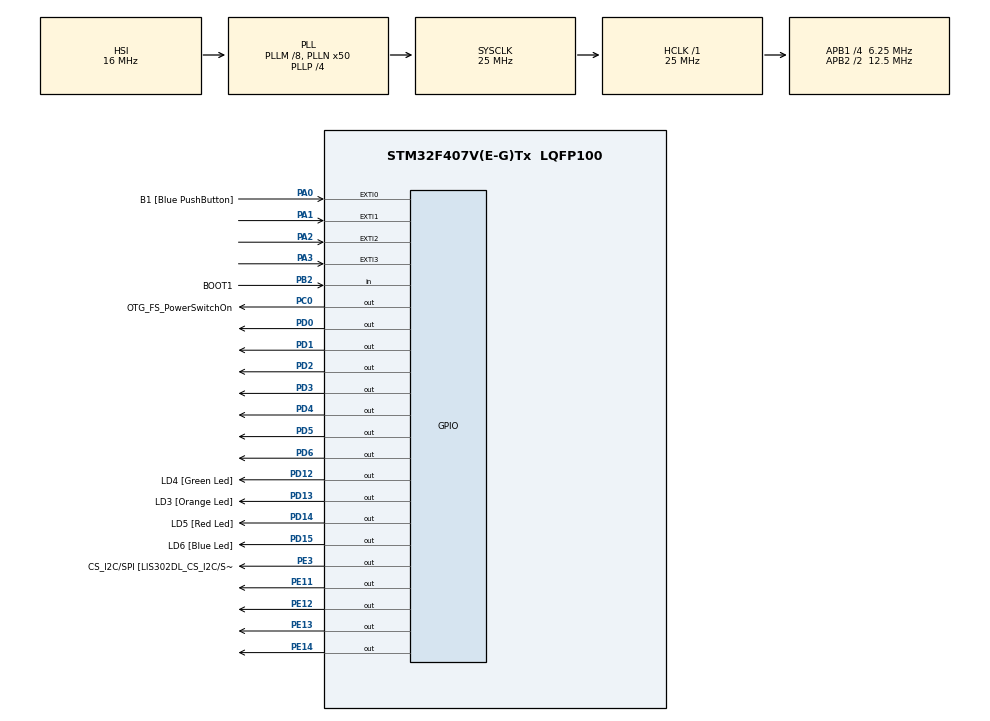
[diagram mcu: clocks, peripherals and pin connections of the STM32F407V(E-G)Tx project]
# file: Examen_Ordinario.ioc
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Mcu.Family=STM32F4
PA11.GPIO_Speed=GPIO_SPEED_FREQ_LOW
PC3.GPIO_Mode=GPIO_MODE_AF_PP
PA2.GPIO_PuPd=GPIO_PULLDOWN
PD12.GPIO_Label=LD4 [Green Led]
PH0-OSC_IN.Signal=RCC_OSC_IN
RCC.CortexFreq_Value=25000000
PC10.GPIO_PuPd=GPIO_NOPULL
PB10.GPIO_Speed=GPIO_SPEED_FREQ_LOW
PB6.GPIO_Mode=GPIO_MODE_AF_OD
PB10.GPIO_PuPd=GPIO_NOPULL
PA10.GPIO_PuPd=GPIO_NOPULL
PD15.GPIO_Speed=GPIO_SPEED_FREQ_LOW
PC10.Signal=I2S3_CK
PC12.Signal=I2S3_SD
PA14.GPIO_Label=SWCLK
PA3.GPIO_PuPd=GPIO_PULLDOWN
PA7.GPIO_Mode=GPIO_MODE_AF_PP
PE11.PinState=GPIO_PIN_SET
NVIC.EXTI3_IRQn=true\:1\:0\:true\:false\:true\:true\:true
PC0.GPIO_Label=OTG_FS_PowerSwitchOn
PA6.GPIO_Label=SPI1_MISO [LIS302DL_SDO]
PB6.GPIO_Label=Audio_SCL [CS43L22_SCL]
PC10.GPIO_Speed=GPIO_SPEED_FREQ_LOW
PA11.GPIO_PuPd=GPIO_NOPULL
PC15-OSC32_OUT.GPIO_Label=PC15-OSC32_OUT
PC3.GPIO_Speed=GPIO_SPEED_FREQ_LOW
RCC.SYSCLKSource=RCC_SYSCLKSOURCE_PLLCLK
ProjectManager.StackSize=0x400
PA6.GPIO_Mode=GPIO_MODE_AF_PP
PD13.Signal=GPIO_Output
PD14.GPIO_Speed=GPIO_SPEED_FREQ_LOW
NVIC.EXTI1_IRQn=true\:1\:0\:true\:false\:true\:true\:true
PA12.Signal=USB_OTG_FS_DP
RCC.HCLKFreq_Value=25000000
PD4.Signal=GPIO_Output
RCC.APB2TimFreq_Value=25000000
PB6.Signal=I2C1_SCL
PC7.Signal=I2S3_MCK
PC3.Signal=I2S2_SD
PD0.Signal=GPIO_Output
PE14.PinState=GPIO_PIN_SET
PA1.GPIO_PuPd=GPIO_PULLDOWN
RCC.AHBFreq_Value=25000000
PH0-OSC_IN.GPIO_Label=PH0-OSC_IN
PA9.GPIO_Mode=GPIO_MODE_INPUT
RCC.HSE_VALUE=8000000
PA4.GPIO_PuPd=GPIO_NOPULL
PB2.Signal=GPIO_Input
PE13.PinState=GPIO_PIN_SET
PA4.GPIO_Speed=GPIO_SPEED_FREQ_LOW
PA6.GPIO_PuPd=GPIO_NOPULL
PE13.Signal=GPIO_Output
PA5.GPIO_PuPd=GPIO_NOPULL
PA10.GPIO_Label=OTG_FS_ID
PC7.GPIO_Mode=GPIO_MODE_AF_PP
PD14.GPIO_PuPd=GPIO_NOPULL
PB2.GPIO_PuPd=GPIO_NOPULL
PD13.GPIO_Label=LD3 [Orange Led]
Mcu.Package=LQFP100
PB9.Signal=I2C1_SDA
PA6.Signal=SPI1_MISO
PD12.Signal=GPIO_Output
PD15.GPIO_PuPd=GPIO_NOPULL
PA10.Signal=USB_OTG_FS_ID
PB9.GPIO_PuPd=GPIO_NOPULL
PA10.GPIO_Speed=GPIO_SPEED_FREQ_LOW
RCC.APB2CLKDivider=RCC_HCLK_DIV2
PB9.GPIO_Speed=GPIO_SPEED_FREQ_LOW
NVIC.EXTI2_IRQn=true\:1\:0\:true\:false\:true\:true\:true
RCC.APB1TimFreq_Value=12500000
PC14-OSC32_IN.GPIO_Label=PC14-OSC32_IN
PC12.GPIO_PuPd=GPIO_NOPULL
PA6.GPIO_Speed=GPIO_SPEED_FREQ_LOW
PC0.GPIO_PuPd=GPIO_NOPULL
PA12.GPIO_PuPd=GPIO_NOPULL
PD6.Signal=GPIO_Output
PA4.GPIO_Label=I2S3_WS [CS43L22_LRCK]
PD15.Signal=GPIO_Output
PC0.PinState=GPIO_PIN_SET
PA12.GPIO_Speed=GPIO_SPEED_FREQ_LOW
PA3.Signal=GPXTI3
PB3.GPIO_Label=SWO
PD12.GPIO_Speed=GPIO_SPEED_FREQ_LOW
PD15.GPIO_Label=LD6 [Blue Led]
PB9.GPIO_Label=Audio_SDA [CS43L22_SDA]
PC10.GPIO_Label=I2S3_SCK [CS43L22_SCLK]
PA9.GPIO_Label=VBUS_FS
PB6.GPIO_PuPd=GPIO_NOPULL
PD3.Signal=GPIO_Output
PD1.Signal=GPIO_Output
PA11.GPIO_Label=OTG_FS_DM
PD5.Signal=GPIO_Output
PC0.Signal=GPIO_Output
RCC.APB1CLKDivider=RCC_HCLK_DIV4
PC14-OSC32_IN.Signal=RCC_OSC32_IN
PA9.GPIO_PuPd=GPIO_NOPULL
PA12.GPIO_Label=OTG_FS_DP
PA0-WKUP.GPIO_Label=B1 [Blue PushButton]
PA0-WKUP.Signal=GPXTI0
PA10.GPIO_Mode=GPIO_MODE_AF_PP
PA13.Signal=SYS_JTMS-SWDIO
PC10.GPIO_Mode=GPIO_MODE_AF_PP
PC0.GPIO_Speed=GPIO_SPEED_FREQ_LOW
PB10.GPIO_Mode=GPIO_MODE_AF_PP
ProjectManager.TargetToolchain=STM32CubeIDE
PB10.GPIO_Label=CLK_IN [MP45DT02_CLK]
PA9.Signal=USB_OTG_FS_VBUS
PC7.GPIO_PuPd=GPIO_NOPULL
PE11.Signal=GPIO_Output
RCC.LSE_VALUE=32768
PC15-OSC32_OUT.Signal=RCC_OSC32_OUT
PA1.Signal=GPXTI1
PA7.GPIO_PuPd=GPIO_NOPULL
PB10.Signal=I2S2_CK
PA5.Signal=SPI1_SCK
board=STM32F407G-DISC1
PD13.GPIO_Speed=GPIO_SPEED_FREQ_LOW
PC7.GPIO_Speed=GPIO_SPEED_FREQ_LOW
RCC.VCOOutputFreq_Value=100000000
PA7.GPIO_Speed=GPIO_SPEED_FREQ_LOW
PB9.GPIO_Mode=GPIO_MODE_AF_OD
PA12.GPIO_Mode=GPIO_MODE_AF_PP
PA4.GPIO_Mode=GPIO_MODE_AF_PP
RCC.APB2Freq_Value=12500000
PB2.GPIO_Mode=GPIO_MODE_INPUT
PE14.Signal=GPIO_Output
PE3.GPIO_PuPd=GPIO_NOPULL
PH1-OSC_OUT.Signal=RCC_OSC_OUT
PD13.GPIO_PuPd=GPIO_NOPULL
PD14.GPIO_Label=LD5 [Red Led]
PH1-OSC_OUT.GPIO_Label=PH1-OSC_OUT
Mcu.Name=STM32F407V(E-G)Tx
PE12.Signal=GPIO_Output
PA2.Signal=GPXTI2
PA13.GPIO_Label=SWDIO
PE12.PinState=GPIO_PIN_SET
PD14.Signal=GPIO_Output
PC7.GPIO_Label=I2S3_MCK [CS43L22_MCLK]
RCC.48MHZClocksFreq_Value=14285714.285714285
PB3.Signal=SYS_JTDO-SWO
NVIC.EXTI0_IRQn=true\:1\:0\:true\:false\:true\:true\:true
PA4.Signal=I2S3_WS
RCC.SYSCLKFreq_VALUE=25000000
PC12.GPIO_Mode=GPIO_MODE_AF_PP
PA7.GPIO_Label=SPI1_MOSI [LIS302DL_SDA/SDI/SDO]
PA5.GPIO_Label=SPI1_SCK [LIS302DL_SCL/SPC]
PE3.GPIO_Speed=GPIO_SPEED_FREQ_LOW
PC12.GPIO_Label=I2S3_SD [CS43L22_SDIN]
PA11.Signal=USB_OTG_FS_DM
PA14.Signal=SYS_JTCK-SWCLK
PB2.GPIO_Label=BOOT1
ProjectManager.HeapSize=0x200
RCC.HSI_VALUE=16000000
RCC.PLLP=RCC_PLLP_DIV4
PA5.GPIO_Speed=GPIO_SPEED_FREQ_LOW
RCC.PLLQ=7
NVIC.PriorityGroup=NVIC_PRIORITYGROUP_1
RCC.PLLM=8
RCC.PLLN=50
PE3.Signal=GPIO_Output
PE3.GPIO_Label=CS_I2C/SPI [LIS302DL_CS_I2C/SPI]
PC3.GPIO_Label=PDM_OUT [MP45DT02_DOUT]
PA0-WKUP.GPIO_PuPd=GPIO_PULLDOWN
PA11.GPIO_Mode=GPIO_MODE_AF_PP
PD2.Signal=GPIO_Output
PB6.GPIO_Speed=GPIO_SPEED_FREQ_LOW
RCC.APB1Freq_Value=6250000
PA5.GPIO_Mode=GPIO_MODE_AF_PP
PC12.GPIO_Speed=GPIO_SPEED_FREQ_LOW
PC3.GPIO_PuPd=GPIO_NOPULL
PD12.GPIO_PuPd=GPIO_NOPULL
PA7.Signal=SPI1_MOSI

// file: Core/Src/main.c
/* USER CODE BEGIN Header */
/**
  ******************************************************************************
  * @file           : main.c
  * @brief          : Main program body
  ******************************************************************************
  * @attention
  *
  * <h2><center>&copy; Copyright (c) 2021 STMicroelectronics.
  * All rights reserved.</center></h2>
  *
  * This software component is licensed by ST under BSD 3-Clause license,
  * the "License"; You may not use this file except in compliance with the
  * License. You may obtain a copy of the License at:
  *                        opensource.org/licenses/BSD-3-Clause
  *
  ******************************************************************************
  */
/* USER CODE END Header */
#include "main.h"

/* USER CODE BEGIN PV */

char lastk;
int nanterior;

int D1 = 0x70; //Y7
int D2 = 0x60;
int D3 = 0x50;
int D4 = 0x40;
int D5 = 0x30;
int D6 = 0x20;
int D7 = 0x10;
int D8 = 0x00;
int numeros[10] = { 0x0, 0x01, 0x2, 0x3, 0x4, 0x5, 0x6, 0x7, 0x8, 0x9 };
char key;
char keys[4][4] = {
		{ 1, 2, 3, 's' },
		{ 4, 5, 6, 'r' },
		{ 7, 8, 9, 'm' },
		{ 'a', 0, 'i', 'd' }
};
unsigned short column[4] = { GPIO_PIN_3, GPIO_PIN_2, GPIO_PIN_1, GPIO_PIN_0 };
unsigned short row[4] = { GPIO_PIN_14, GPIO_PIN_13, GPIO_PIN_12, GPIO_PIN_11 };
int KeyboardNumber;
unsigned short tiempoDebounce = 200;
unsigned int tickAnterior = 0;
/* USER CODE END PV */

void SystemClock_Config(void);
static void MX_GPIO_Init(void);
/* USER CODE BEGIN PFP */
void keyHandle(short);
void displayNumber(int numero);
void setDisplay(int dig1, int dig2, int dig3, int dig4, int dig5, int dig6, int dig7, int dig8);
/* USER CODE END PFP */

/* USER CODE BEGIN 0 */
/**
  * @brief Toma el valor de entrada
  * y los descompone en digitos individuales.
  * @param int
  * @retval None
  */
void displayNumber(int count) {
	int dig1, dig2, dig3, dig4, dig5, dig6, dig7, dig8;
	dig1 = count % 10; //almacenar el 1
	dig2 = (count % 100) / 10; //almacenar el 2
	dig3 = (count % 1000) / 100; //almacenar el 3
	dig4 = (count % 10000) / 1000; //almacenar el 4
	dig5 = (count % 100000) / 10000; //almacenar el 5
	dig6 = (count % 1000000) / 100000; //almacenar el 6
	dig7 = (count % 10000000) / 1000000; //almacenar el 7
	dig8 = (count % 100000000) / 10000000; //almacenar el 8
	setDisplay(dig1, dig2, dig3, dig4, dig5, dig6, dig7, dig8);
}

/**
  * @brief Toma los valores de entrada
  * y los imprime en los displays.
  * @param 8 numeros enteros entre 0 y 9 (6 en esta practica).
  * @see displayNumber()
  * @retval None
  */
void setDisplay(int dig1, int dig2, int dig3, int dig4, int dig5, int dig6, int dig7, int dig8) {
	GPIOD->ODR = numeros[dig1] + D1;
	HAL_Delay(1);
	GPIOD->ODR = numeros[dig2] + D2;
	HAL_Delay(1);
	GPIOD->ODR = numeros[dig3] + D3;
	HAL_Delay(1);
	GPIOD->ODR = numeros[dig4] + D4;
	HAL_Delay(1);
	GPIOD->ODR = numeros[dig5] + D5;
	HAL_Delay(1);
	GPIOD->ODR = numeros[dig6] + D6;
	HAL_Delay(1);
	GPIOD->ODR = numeros[dig7] + D7;
	HAL_Delay(1);
	GPIOD->ODR = numeros[dig8] + D8;
	HAL_Delay(1);
}
/**
  * @brief Decodifica un teclado matricial
  * @param short numero de el pin donde
  * se origino la interrupcion.
  * @retval None
  */
void keyHandle(short columna) {
	if ((HAL_GetTick() - tickAnterior) > tiempoDebounce) {
		HAL_Delay(5);
		GPIOE->ODR = 0x0;
		for (short i = 3; i >= 0; i--) {
			HAL_GPIO_WritePin(GPIOE, row[i], GPIO_PIN_SET);
			if (HAL_GPIO_ReadPin(GPIOA, column[columna])) {
				key = keys[i][columna];
			}
			HAL_GPIO_WritePin(GPIOE, row[i], GPIO_PIN_RESET);
		}
		if (key > 9) {
			if (key == 'i') {
				if (lastk == 's') {
					KeyboardNumber = nanterior + KeyboardNumber;
				}
				if (lastk == 'r') {
					KeyboardNumber = nanterior - KeyboardNumber;
				}
				if (lastk == 'm') {
					KeyboardNumber = nanterior * KeyboardNumber;
				}
				if (lastk == 'd') {
					KeyboardNumber = nanterior / KeyboardNumber;
				}
				lastk = 'i';
			} else {
				lastk = key;
				nanterior = KeyboardNumber;
				KeyboardNumber = 0;
			}
			if (key == 'a') {
				KeyboardNumber = 0;
				nanterior = 0;
				lastk = 0;
			}
		} else {
			KeyboardNumber = ((KeyboardNumber % 10000000) * 10 + key);

		}
		GPIOE->ODR = 0x7800;
		tickAnterior = HAL_GetTick();
	}
}
/* USER CODE END 0 */

int main(void)
{

  /* MCU Configuration--------------------------------------------------------*/

  /* Reset of all peripherals, Initializes the Flash interface and the Systick. */
  HAL_Init();

  /* Configure the system clock */
  SystemClock_Config();

  /* Initialize all configured peripherals */
  MX_GPIO_Init();

  /* Infinite loop */
  /* USER CODE BEGIN WHILE */
  while (1)
  {
	  displayNumber(KeyboardNumber);
    /* USER CODE END WHILE */

  }
}

void SystemClock_Config(void)
{
  RCC_OscInitTypeDef RCC_OscInitStruct = {0};
  RCC_ClkInitTypeDef RCC_ClkInitStruct = {0};

  /** Configure the main internal regulator output voltage
  */
  __HAL_RCC_PWR_CLK_ENABLE();
  __HAL_PWR_VOLTAGESCALING_CONFIG(PWR_REGULATOR_VOLTAGE_SCALE1);
  /** Initializes the RCC Oscillators according to the specified parameters
  * in the RCC_OscInitTypeDef structure.
  */
  RCC_OscInitStruct.OscillatorType = RCC_OSCILLATORTYPE_HSI;
  RCC_OscInitStruct.HSIState = RCC_HSI_ON;
  RCC_OscInitStruct.HSICalibrationValue = RCC_HSICALIBRATION_DEFAULT;
  RCC_OscInitStruct.PLL.PLLState = RCC_PLL_ON;
  RCC_OscInitStruct.PLL.PLLSource = RCC_PLLSOURCE_HSI;
  RCC_OscInitStruct.PLL.PLLM = 8;
  RCC_OscInitStruct.PLL.PLLN = 50;
  RCC_OscInitStruct.PLL.PLLP = RCC_PLLP_DIV4;
  RCC_OscInitStruct.PLL.PLLQ = 7;
  if (HAL_RCC_OscConfig(&RCC_OscInitStruct) != HAL_OK)
  {
    Error_Handler();
  }
  /** Initializes the CPU, AHB and APB buses clocks
  */
  RCC_ClkInitStruct.ClockType = RCC_CLOCKTYPE_HCLK|RCC_CLOCKTYPE_SYSCLK
                              |RCC_CLOCKTYPE_PCLK1|RCC_CLOCKTYPE_PCLK2;
  RCC_ClkInitStruct.SYSCLKSource = RCC_SYSCLKSOURCE_PLLCLK;
  RCC_ClkInitStruct.AHBCLKDivider = RCC_SYSCLK_DIV1;
  RCC_ClkInitStruct.APB1CLKDivider = RCC_HCLK_DIV4;
  RCC_ClkInitStruct.APB2CLKDivider = RCC_HCLK_DIV2;

  if (HAL_RCC_ClockConfig(&RCC_ClkInitStruct, FLASH_LATENCY_0) != HAL_OK)
  {
    Error_Handler();
  }
}

static void MX_GPIO_Init(void)
{
  GPIO_InitTypeDef GPIO_InitStruct = {0};

  /* GPIO Ports Clock Enable */
  __HAL_RCC_GPIOE_CLK_ENABLE();
  __HAL_RCC_GPIOC_CLK_ENABLE();
  __HAL_RCC_GPIOH_CLK_ENABLE();
  __HAL_RCC_GPIOA_CLK_ENABLE();
  __HAL_RCC_GPIOB_CLK_ENABLE();
  __HAL_RCC_GPIOD_CLK_ENABLE();

  /*Configure GPIO pin Output Level */
  HAL_GPIO_WritePin(CS_I2C_SPI_GPIO_Port, CS_I2C_SPI_Pin, GPIO_PIN_RESET);

  /*Configure GPIO pin Output Level */
  HAL_GPIO_WritePin(OTG_FS_PowerSwitchOn_GPIO_Port, OTG_FS_PowerSwitchOn_Pin, GPIO_PIN_SET);

  /*Configure GPIO pin Output Level */
  HAL_GPIO_WritePin(GPIOE, GPIO_PIN_11|GPIO_PIN_12|GPIO_PIN_13|GPIO_PIN_14, GPIO_PIN_SET);

  /*Configure GPIO pin Output Level */
  HAL_GPIO_WritePin(GPIOD, LD4_Pin|LD3_Pin|LD5_Pin|LD6_Pin
                          |GPIO_PIN_0|GPIO_PIN_1|GPIO_PIN_2|GPIO_PIN_3
                          |GPIO_PIN_4|GPIO_PIN_5|GPIO_PIN_6, GPIO_PIN_RESET);

  /*Configure GPIO pins : CS_I2C_SPI_Pin PE11 PE12 PE13
                           PE14 */
  GPIO_InitStruct.Pin = CS_I2C_SPI_Pin|GPIO_PIN_11|GPIO_PIN_12|GPIO_PIN_13
                          |GPIO_PIN_14;
  GPIO_InitStruct.Mode = GPIO_MODE_OUTPUT_PP;
  GPIO_InitStruct.Pull = GPIO_NOPULL;
  GPIO_InitStruct.Speed = GPIO_SPEED_FREQ_LOW;
  HAL_GPIO_Init(GPIOE, &GPIO_InitStruct);

  /*Configure GPIO pin : OTG_FS_PowerSwitchOn_Pin */
  GPIO_InitStruct.Pin = OTG_FS_PowerSwitchOn_Pin;
  GPIO_InitStruct.Mode = GPIO_MODE_OUTPUT_PP;
  GPIO_InitStruct.Pull = GPIO_NOPULL;
  GPIO_InitStruct.Speed = GPIO_SPEED_FREQ_LOW;
  HAL_GPIO_Init(OTG_FS_PowerSwitchOn_GPIO_Port, &GPIO_InitStruct);

  /*Configure GPIO pin : PDM_OUT_Pin */
  GPIO_InitStruct.Pin = PDM_OUT_Pin;
  GPIO_InitStruct.Mode = GPIO_MODE_AF_PP;
  GPIO_InitStruct.Pull = GPIO_NOPULL;
  GPIO_InitStruct.Speed = GPIO_SPEED_FREQ_LOW;
  GPIO_InitStruct.Alternate = GPIO_AF5_SPI2;
  HAL_GPIO_Init(PDM_OUT_GPIO_Port, &GPIO_InitStruct);

  /*Configure GPIO pins : B1_Pin PA1 PA2 PA3 */
  GPIO_InitStruct.Pin = B1_Pin|GPIO_PIN_1|GPIO_PIN_2|GPIO_PIN_3;
  GPIO_InitStruct.Mode = GPIO_MODE_IT_RISING;
  GPIO_InitStruct.Pull = GPIO_PULLDOWN;
  HAL_GPIO_Init(GPIOA, &GPIO_InitStruct);

  /*Configure GPIO pin : I2S3_WS_Pin */
  GPIO_InitStruct.Pin = I2S3_WS_Pin;
  GPIO_InitStruct.Mode = GPIO_MODE_AF_PP;
  GPIO_InitStruct.Pull = GPIO_NOPULL;
  GPIO_InitStruct.Speed = GPIO_SPEED_FREQ_LOW;
  GPIO_InitStruct.Alternate = GPIO_AF6_SPI3;
  HAL_GPIO_Init(I2S3_WS_GPIO_Port, &GPIO_InitStruct);

  /*Configure GPIO pins : SPI1_SCK_Pin SPI1_MISO_Pin SPI1_MOSI_Pin */
  GPIO_InitStruct.Pin = SPI1_SCK_Pin|SPI1_MISO_Pin|SPI1_MOSI_Pin;
  GPIO_InitStruct.Mode = GPIO_MODE_AF_PP;
  GPIO_InitStruct.Pull = GPIO_NOPULL;
  GPIO_InitStruct.Speed = GPIO_SPEED_FREQ_LOW;
  GPIO_InitStruct.Alternate = GPIO_AF5_SPI1;
  HAL_GPIO_Init(GPIOA, &GPIO_InitStruct);

  /*Configure GPIO pin : BOOT1_Pin */
  GPIO_InitStruct.Pin = BOOT1_Pin;
  GPIO_InitStruct.Mode = GPIO_MODE_INPUT;
  GPIO_InitStruct.Pull = GPIO_NOPULL;
  HAL_GPIO_Init(BOOT1_GPIO_Port, &GPIO_InitStruct);

  /*Configure GPIO pin : CLK_IN_Pin */
  GPIO_InitStruct.Pin = CLK_IN_Pin;
  GPIO_InitStruct.Mode = GPIO_MODE_AF_PP;
  GPIO_InitStruct.Pull = GPIO_NOPULL;
  GPIO_InitStruct.Speed = GPIO_SPEED_FREQ_LOW;
  GPIO_InitStruct.Alternate = GPIO_AF5_SPI2;
  HAL_GPIO_Init(CLK_IN_GPIO_Port, &GPIO_InitStruct);

  /*Configure GPIO pins : LD4_Pin LD3_Pin LD5_Pin LD6_Pin
                           PD0 PD1 PD2 PD3
                           PD4 PD5 PD6 */
  GPIO_InitStruct.Pin = LD4_Pin|LD3_Pin|LD5_Pin|LD6_Pin
                          |GPIO_PIN_0|GPIO_PIN_1|GPIO_PIN_2|GPIO_PIN_3
                          |GPIO_PIN_4|GPIO_PIN_5|GPIO_PIN_6;
  GPIO_InitStruct.Mode = GPIO_MODE_OUTPUT_PP;
  GPIO_InitStruct.Pull = GPIO_NOPULL;
  GPIO_InitStruct.Speed = GPIO_SPEED_FREQ_LOW;
  HAL_GPIO_Init(GPIOD, &GPIO_InitStruct);

  /*Configure GPIO pins : I2S3_MCK_Pin I2S3_SCK_Pin I2S3_SD_Pin */
  GPIO_InitStruct.Pin = I2S3_MCK_Pin|I2S3_SCK_Pin|I2S3_SD_Pin;
  GPIO_InitStruct.Mode = GPIO_MODE_AF_PP;
  GPIO_InitStruct.Pull = GPIO_NOPULL;
  GPIO_InitStruct.Speed = GPIO_SPEED_FREQ_LOW;
  GPIO_InitStruct.Alternate = GPIO_AF6_SPI3;
  HAL_GPIO_Init(GPIOC, &GPIO_InitStruct);

  /*Configure GPIO pin : VBUS_FS_Pin */
  GPIO_InitStruct.Pin = VBUS_FS_Pin;
  GPIO_InitStruct.Mode = GPIO_MODE_INPUT;
  GPIO_InitStruct.Pull = GPIO_NOPULL;
  HAL_GPIO_Init(VBUS_FS_GPIO_Port, &GPIO_InitStruct);

  /*Configure GPIO pins : OTG_FS_ID_Pin OTG_FS_DM_Pin OTG_FS_DP_Pin */
  GPIO_InitStruct.Pin = OTG_FS_ID_Pin|OTG_FS_DM_Pin|OTG_FS_DP_Pin;
  GPIO_InitStruct.Mode = GPIO_MODE_AF_PP;
  GPIO_InitStruct.Pull = GPIO_NOPULL;
  GPIO_InitStruct.Speed = GPIO_SPEED_FREQ_LOW;
  GPIO_InitStruct.Alternate = GPIO_AF10_OTG_FS;
  HAL_GPIO_Init(GPIOA, &GPIO_InitStruct);

  /*Configure GPIO pins : Audio_SCL_Pin Audio_SDA_Pin */
  GPIO_InitStruct.Pin = Audio_SCL_Pin|Audio_SDA_Pin;
  GPIO_InitStruct.Mode = GPIO_MODE_AF_OD;
  GPIO_InitStruct.Pull = GPIO_PULLUP;
  GPIO_InitStruct.Speed = GPIO_SPEED_FREQ_LOW;
  GPIO_InitStruct.Alternate = GPIO_AF4_I2C1;
  HAL_GPIO_Init(GPIOB, &GPIO_InitStruct);

  /* EXTI interrupt init*/
  HAL_NVIC_SetPriority(EXTI0_IRQn, 1, 0);
  HAL_NVIC_EnableIRQ(EXTI0_IRQn);

  HAL_NVIC_SetPriority(EXTI1_IRQn, 1, 0);
  HAL_NVIC_EnableIRQ(EXTI1_IRQn);

  HAL_NVIC_SetPriority(EXTI2_IRQn, 1, 0);
  HAL_NVIC_EnableIRQ(EXTI2_IRQn);

  HAL_NVIC_SetPriority(EXTI3_IRQn, 1, 0);
  HAL_NVIC_EnableIRQ(EXTI3_IRQn);

}

void Error_Handler(void)
{
  __disable_irq();
  while (1)
  {
  }
}

/************************ (C) COPYRIGHT STMicroelectronics *****END OF FILE****/
